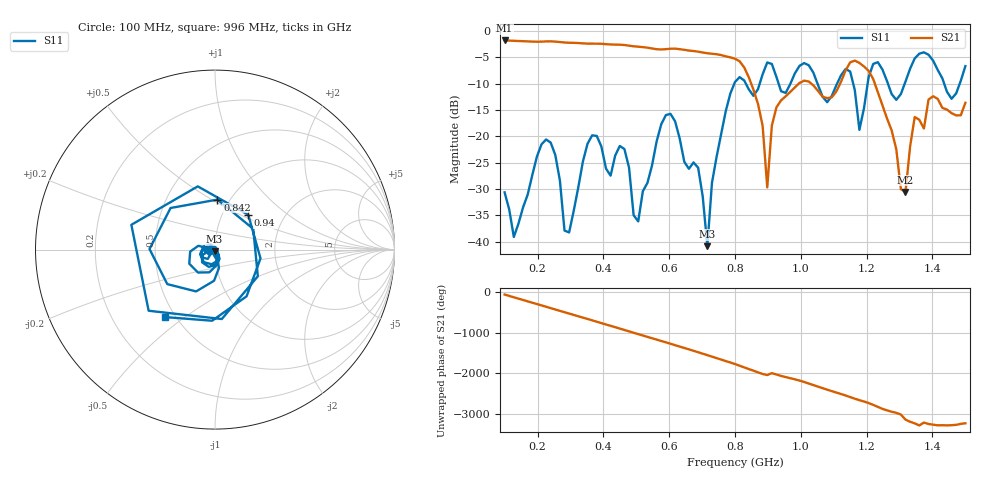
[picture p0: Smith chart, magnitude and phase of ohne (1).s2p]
! NanoVNA-App
! Date: 2025-09-25 14:20:48
! Start: 100MHz Stop: 1,5GHz Points: 101
! S-Parameter data: F S11 S21 S12 S22
# Hz S RI R 50
!  Frequency  S11_Real  S11_Imag  S21_Real  S21_Imag  S12_Real  S12_Imag  S22_Real  S22_Imag
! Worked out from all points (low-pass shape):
!   101 points, 100 MHz to 1.5 GHz, reference 50 ohm
!   highest |S21| = -1.79 dB at 100 MHz (marker M1); lowest = -30.6 dB at 1.318 GHz (marker M2)
!   |S21| within 3 dB of the highest: start of sweep to 771 MHz
!   lowest |S11| = -40.9 dB at 716 MHz (marker M3), VSWR 1.02, Z = 49.7 - j0.862 ohm
!   |S11| at or under -10 dB: start of sweep to 797.9 MHz; 833 MHz to 875.1 MHz (42.07 MHz wide, 4.93 % of centre); 1.051 GHz to 1.11 GHz (59.5 MHz wide, 5.51 % of centre) (the widest 3 of 7)
!   S12 and S22 are empty: the file has one direction only
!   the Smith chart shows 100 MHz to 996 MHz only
!   S11 on the Smith chart (normalised r, x): 100 MHz: 0.94, -0.01; 842 MHz: 0.88, +0.53; 940 MHz: 1.32, +0.55; 996 MHz: 0.44, -0.42
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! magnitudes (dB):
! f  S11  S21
! 100 MHz  -30.6  -1.8
! 128 MHz  -39.1  -1.9
! 226 MHz  -20.6  -2.0
! 296 MHz  -38.3  -2.2
! 338 MHz  -24.8  -2.3
! 464 MHz  -22.4  -2.7
! 506 MHz  -36.2  -3.0
! 576 MHz  -17.7  -3.5
! 688 MHz  -26.0  -3.9
! 716 MHz  -40.9  -4.2
! 800 MHz  -9.7  -5.3
! 842 MHz  -11.1  -8.8
! 898 MHz  -6.0  -29.7
! 940 MHz  -11.4  -13.2
! 996 MHz  -6.6  -9.9
! 1.038 GHz  -7.9  -10.3
! 1.178 GHz  -18.8  -6.1
! 1.22 GHz  -6.2  -9.1
! 1.276 GHz  -12.0  -18.9
! 1.318 GHz  -9.6  -30.6
! 1.346 GHz  -5.2  -16.3
! 1.5 GHz  -6.7  -13.6
